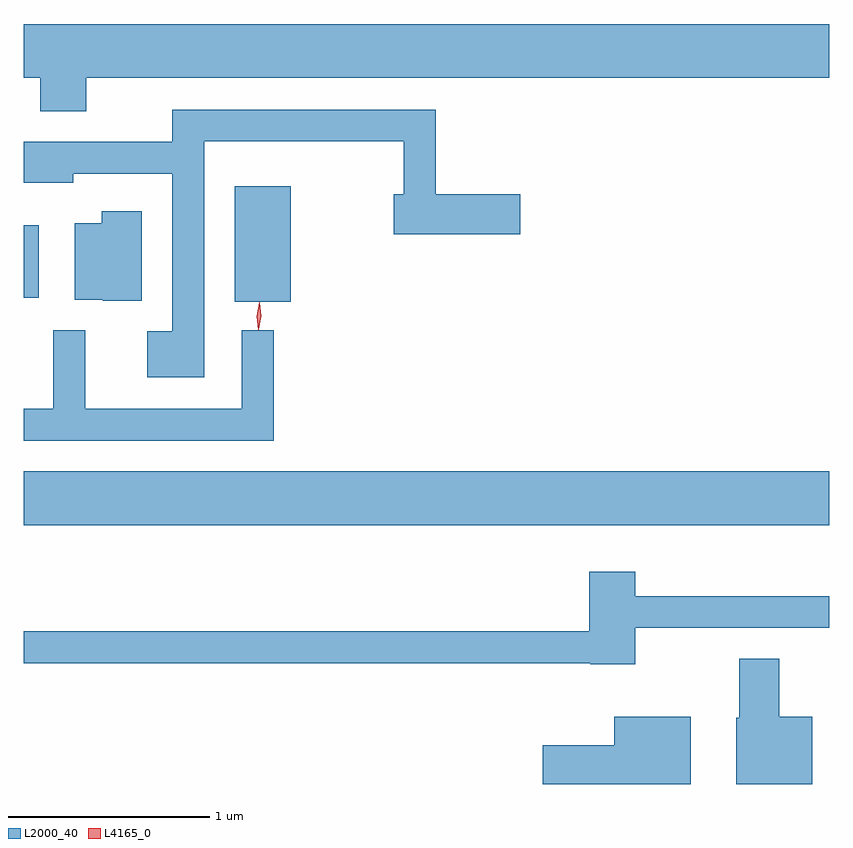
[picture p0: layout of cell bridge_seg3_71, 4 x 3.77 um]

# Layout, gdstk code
import gdstk
lib = gdstk.Library(unit=1e-6, precision=1e-09)
def R(c, l, rs):  # rectangles x0, y0, x1, y1
    for r in rs: c.add(gdstk.rectangle(r[:2], r[2:], *l))
def P(c, l, *ps):  # polygons
    for p in ps: c.add(gdstk.Polygon(p, *l))
L2000_40 = (2000, 40)
L4165_0 = (4165, 0)

bridge_seg3_71 = lib.new_cell('bridge_seg3_71')
R(bridge_seg3_71, L2000_40, [(1124.368,1203.716,1128.368,1203.984), (1125.416,1204.826,1125.694,1205.399), (1124.368,1204.846,1124.444,1205.204)])
P(bridge_seg3_71, L2000_40, [(1124.679,1205.936),(1128.368,1205.936),(1128.368,1206.204),(1124.368,1206.204),(1124.368,1205.936),(1124.451,1205.936),(1124.451,1205.771),(1124.679,1205.771)],
  [(1125.264,1205.621),(1126.256,1205.621),(1126.256,1205.359),(1126.206,1205.359),(1126.206,1205.161),(1126.834,1205.161),(1126.834,1205.359),(1126.414,1205.359),(1126.414,1205.779),(1125.106,1205.779),(1125.106,1205.619),(1124.368,1205.619),(1124.368,1205.416),(1124.614,1205.416),(1124.614,1205.461),(1125.106,1205.461),(1125.106,1204.679),(1124.981,1204.679),(1124.981,1204.451),(1125.264,1204.451)],
  [(1124.954,1205.274),(1124.756,1205.274),(1124.756,1205.214),(1124.621,1205.214),(1124.621,1204.836),(1124.76,1204.836),(1124.76,1204.831),(1124.954,1204.831)],
  [(1125.609,1204.683),(1125.451,1204.683),(1125.451,1204.294),(1124.674,1204.294),(1124.674,1204.683),(1124.516,1204.683),(1124.516,1204.294),(1124.368,1204.294),(1124.368,1204.136),(1125.609,1204.136)],
  [(1127.404,1203.206),(1128.368,1203.206),(1128.368,1203.364),(1127.404,1203.364),(1127.404,1203.484),(1127.176,1203.484),(1127.176,1203.189),(1124.368,1203.189),(1124.368,1203.031),(1127.18,1203.031),(1127.18,1203.026),(1127.404,1203.026)],
  [(1128.284,1202.764),(1128.119,1202.764),(1128.119,1203.054),(1127.921,1203.054),(1127.921,1202.76),(1127.906,1202.76),(1127.906,1202.431),(1128.284,1202.431)],
  [(1127.679,1202.764),(1127.301,1202.764),(1127.301,1202.624),(1126.946,1202.624),(1126.946,1202.431),(1127.679,1202.431)])
P(bridge_seg3_71, L4165_0, [(1125.533,1204.684),(1125.533,1204.685),(1125.526,1204.754),(1125.538,1204.821),(1125.539,1204.822),(1125.539,1204.821),(1125.546,1204.753),(1125.534,1204.685)],
  [(1125.535,1204.688),(1125.528,1204.754),(1125.54,1204.819),(1125.54,1204.82),(1125.541,1204.819),(1125.548,1204.753),(1125.536,1204.688),(1125.536,1204.688)])

lib.write_gds('bridge_seg3_71.gds')
